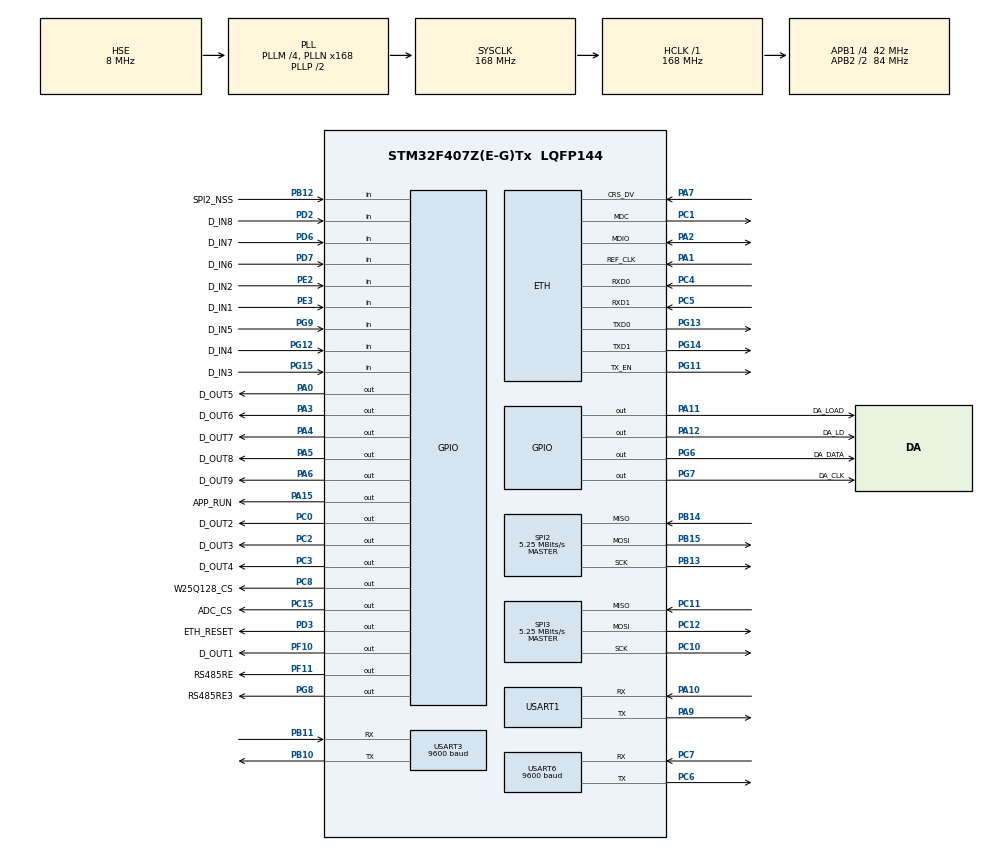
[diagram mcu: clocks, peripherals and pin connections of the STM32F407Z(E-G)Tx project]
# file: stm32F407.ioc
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ETH.AutoNegotiation=ETH_AUTONEGOTIATION_ENABLE
ETH.MACAddr=00\:80\:E1\:00\:00\:11
ETH.MediaInterface=ETH_MEDIA_INTERFACE_RMII
ETH.PHY_DUPLEX_STATUS=0x0010
ETH.PHY_Name_RMII=userPHY
ETH.PHY_SPEED_STATUS=0x0004
ETH.PHY_SR=0x1F
ETH.PHY_User_Name=LAN8720A
ETH.PhyAddress=0
LWIP.LWIP_DHCP=0
LWIP.LWIP_TFTP=1
LWIP.MEMP_NUM_NETCONN=12
LWIP.MEM_SIZE=16000
LWIP.Version=v2.0.3_Cube
Mcu.Family=STM32F4
Mcu.Name=STM32F407Z(E-G)Tx
Mcu.Package=LQFP144
NVIC.ETH_IRQn=true\:0\:0\:true\:false\:true\:true
NVIC.PriorityGroup=NVIC_PRIORITYGROUP_4
NVIC.USART3_IRQn=true\:0\:0\:false\:false\:true\:true
NVIC.USART6_IRQn=true\:0\:0\:false\:false\:true\:true
NVIC.WWDG_IRQn=true\:0\:0\:true\:false\:true\:true
PA0-WKUP.GPIO_Label=D_OUT5
PA0-WKUP.GPIO_Speed=GPIO_SPEED_FREQ_HIGH
PA0-WKUP.Signal=GPIO_Output
PA1.Mode=RMII
PA1.Signal=ETH_REF_CLK
PA10.Mode=Asynchronous
PA10.Signal=USART1_RX
PA11.GPIO_Label=DA_LOAD
PA11.GPIO_Speed=GPIO_SPEED_FREQ_HIGH
PA11.Signal=GPIO_Output
PA12.GPIO_Label=DA_LD
PA12.GPIO_Speed=GPIO_SPEED_FREQ_HIGH
PA12.Signal=GPIO_Output
PA15.GPIO_Label=APP_RUN
PA15.GPIO_Speed=GPIO_SPEED_FREQ_HIGH
PA15.Signal=GPIO_Output
PA2.Mode=RMII
PA2.Signal=ETH_MDIO
PA3.GPIO_Label=D_OUT6
PA3.GPIO_Speed=GPIO_SPEED_FREQ_HIGH
PA3.Signal=GPIO_Output
PA4.GPIO_Label=D_OUT7
PA4.GPIO_Speed=GPIO_SPEED_FREQ_HIGH
PA4.Signal=GPIO_Output
PA5.GPIO_Label=D_OUT8
PA5.GPIO_Speed=GPIO_SPEED_FREQ_HIGH
PA5.Signal=GPIO_Output
PA6.GPIO_Label=D_OUT9
PA6.GPIO_Speed=GPIO_SPEED_FREQ_HIGH
PA6.Signal=GPIO_Output
PA7.Mode=RMII
PA7.Signal=ETH_CRS_DV
PA9.Mode=Asynchronous
PA9.Signal=USART1_TX
PB10.Mode=Asynchronous
PB10.Signal=USART3_TX
PB11.Mode=Asynchronous
PB11.Signal=USART3_RX
PB12.GPIO_Label=SPI2_NSS
PB12.Signal=GPIO_Input
PB13.Mode=Full_Duplex_Master
PB13.Signal=SPI2_SCK
PB14.Mode=Full_Duplex_Master
PB14.Signal=SPI2_MISO
PB15.Mode=Full_Duplex_Master
PB15.Signal=SPI2_MOSI
PC0.GPIO_Label=D_OUT2
PC0.GPIO_Speed=GPIO_SPEED_FREQ_HIGH
PC0.Signal=GPIO_Output
PC1.Mode=RMII
PC1.Signal=ETH_MDC
PC10.Mode=Full_Duplex_Master
PC10.Signal=SPI3_SCK
PC11.Mode=Full_Duplex_Master
PC11.Signal=SPI3_MISO
PC12.Mode=Full_Duplex_Master
PC12.Signal=SPI3_MOSI
PC15-OSC32_OUT.GPIO_Label=ADC_CS
PC15-OSC32_OUT.Signal=GPIO_Output
PC2.GPIO_Label=D_OUT3
PC2.GPIO_Speed=GPIO_SPEED_FREQ_HIGH
PC2.Signal=GPIO_Output
PC3.GPIO_Label=D_OUT4
PC3.GPIO_Speed=GPIO_SPEED_FREQ_HIGH
PC3.Signal=GPIO_Output
PC4.Mode=RMII
PC4.Signal=ETH_RXD0
PC5.Mode=RMII
PC5.Signal=ETH_RXD1
PC6.Mode=Asynchronous
PC6.Signal=USART6_TX
PC7.Mode=Asynchronous
PC7.Signal=USART6_RX
PC8.GPIO_Label=W25Q128_CS
PC8.GPIO_Speed=GPIO_SPEED_FREQ_HIGH
PC8.PinState=GPIO_PIN_SET
PC8.Signal=GPIO_Output
PD2.GPIO_Label=D_IN8
PD2.Signal=GPIO_Input
PD3.GPIO_Label=ETH_RESET
PD3.GPIO_ModeDefaultOutputPP=GPIO_MODE_OUTPUT_PP
PD3.GPIO_PuPd=GPIO_NOPULL
PD3.GPIO_Speed=GPIO_SPEED_FREQ_VERY_HIGH
PD3.PinState=GPIO_PIN_RESET
PD3.Signal=GPIO_Output
PD6.GPIO_Label=D_IN7
PD6.Signal=GPIO_Input
PD7.GPIO_Label=D_IN6
PD7.Signal=GPIO_Input
PE2.GPIO_Label=D_IN2
PE2.Signal=GPIO_Input
PE3.GPIO_Label=D_IN1
PE3.Signal=GPIO_Input
PF10.GPIO_Label=D_OUT1
PF10.GPIO_Speed=GPIO_SPEED_FREQ_HIGH
PF10.Signal=GPIO_Output
PF11.GPIO_Label=RS485RE
PF11.GPIO_Speed=GPIO_SPEED_FREQ_HIGH
PF11.PinState=GPIO_PIN_RESET
PF11.Signal=GPIO_Output
PG11.Mode=RMII
PG11.Signal=ETH_TX_EN
PG12.GPIO_Label=D_IN4
PG12.Signal=GPIO_Input
PG13.Mode=RMII
PG13.Signal=ETH_TXD0
PG14.Mode=RMII
PG14.Signal=ETH_TXD1
PG15.GPIO_Label=D_IN3
PG15.Signal=GPIO_Input
PG6.GPIO_Label=DA_DATA
PG6.GPIO_Speed=GPIO_SPEED_FREQ_HIGH
PG6.Signal=GPIO_Output
PG7.GPIO_Label=DA_CLK
PG7.GPIO_Speed=GPIO_SPEED_FREQ_HIGH
PG7.Signal=GPIO_Output
PG8.GPIO_Label=RS485RE3
PG8.GPIO_Speed=GPIO_SPEED_FREQ_HIGH
PG8.Signal=GPIO_Output
PG9.GPIO_Label=D_IN5
PG9.Signal=GPIO_Input
PH0-OSC_IN.Mode=HSE-External-Oscillator
PH0-OSC_IN.Signal=RCC_OSC_IN
PH1-OSC_OUT.Mode=HSE-External-Oscillator
PH1-OSC_OUT.Signal=RCC_OSC_OUT
ProjectManager.HeapSize=0x200
ProjectManager.StackSize=0x400
ProjectManager.TargetToolchain=MDK-ARM V5
RCC.48MHZClocksFreq_Value=48000000
RCC.AHBFreq_Value=168000000
RCC.APB1CLKDivider=RCC_HCLK_DIV4
RCC.APB1Freq_Value=42000000
RCC.APB1TimFreq_Value=84000000
RCC.APB2CLKDivider=RCC_HCLK_DIV2
RCC.APB2Freq_Value=84000000
RCC.APB2TimFreq_Value=168000000
RCC.CortexFreq_Value=168000000
RCC.HCLKFreq_Value=168000000
RCC.HSE_VALUE=8000000
RCC.HSI_VALUE=16000000
RCC.LSE_VALUE=32768
RCC.PLLM=4
RCC.PLLN=168
RCC.PLLQ=7
RCC.PLLSourceVirtual=RCC_PLLSOURCE_HSE
RCC.RCC_MCO1Source=RCC_MCO1SOURCE_PLLCLK
RCC.RCC_MCODiv1=RCC_MCODIV_3
RCC.RCC_RTC_Clock_SourceVirtual=RCC_RTCCLKSOURCE_HSE_DIV8
RCC.RCC_RTC_Clock_Source_FROM_HSE=RCC_RTCCLKSOURCE_HSE_DIV8
RCC.SYSCLKFreq_VALUE=168000000
RCC.SYSCLKSource=RCC_SYSCLKSOURCE_PLLCLK
RCC.VCOOutputFreq_Value=336000000
RTC.AsynchPrediv=127
RTC.Date=15
RTC.Format=RTC_FORMAT_BIN
RTC.Month=RTC_MONTH_APRIL
RTC.SynchPrediv=7811
RTC.Year=18
SPI2.BaudRatePrescaler=SPI_BAUDRATEPRESCALER_8
SPI2.CLKPhase=SPI_PHASE_1EDGE
SPI2.CLKPolarity=SPI_POLARITY_LOW
SPI2.CalculateBaudRate=5.25 MBits/s
SPI2.Direction=SPI_DIRECTION_2LINES
SPI2.Mode=SPI_MODE_MASTER
SPI2.VirtualType=VM_MASTER
SPI3.BaudRatePrescaler=SPI_BAUDRATEPRESCALER_8
SPI3.CLKPhase=SPI_PHASE_2EDGE
SPI3.CLKPolarity=SPI_POLARITY_HIGH
SPI3.CalculateBaudRate=5.25 MBits/s
SPI3.Direction=SPI_DIRECTION_2LINES
SPI3.Mode=SPI_MODE_MASTER
SPI3.VirtualType=VM_MASTER
USART1.VirtualMode=VM_ASYNC
USART3.BaudRate=9600
USART3.VirtualMode=VM_ASYNC
USART6.BaudRate=9600
USART6.VirtualMode=VM_ASYNC
VP_LWIP_VS_Enabled.Mode=Enabled
VP_RTC_VS_RTC_Activate.Mode=RTC_Enabled
VP_RTC_VS_RTC_Calendar.Mode=RTC_Calendar
VP_WWDG_VS_WWDG.Mode=WWDG_Activate
WWDG.Counter=0x7F
WWDG.EWIMode=WWDG_EWI_ENABLE
WWDG.Prescaler=WWDG_PRESCALER_8
WWDG.Window=0x5A
board=stm32F407

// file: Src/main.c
/**
  ******************************************************************************
  * @file           : main.c
  * @brief          : Main program body
  ******************************************************************************
  * This notice applies to any and all portions of this file
  * that are not between comment pairs USER CODE BEGIN and
  * USER CODE END. Other portions of this file, whether
  * inserted by the user or by software development tools
  * are owned by their respective copyright owners.
  *
  * Copyright (c) 2018 STMicroelectronics International N.V.
  * All rights reserved.
  *
  * Redistribution and use in source and binary forms, with or without
  * modification, are permitted, provided that the following conditions are met:
  *
  * 1. Redistribution of source code must retain the above copyright notice,
  *    this list of conditions and the following disclaimer.
  * 2. Redistributions in binary form must reproduce the above copyright notice,
  *    this list of conditions and the following disclaimer in the documentation
  *    and/or other materials provided with the distribution.
  * 3. Neither the name of STMicroelectronics nor the names of other
  *    contributors to this software may be used to endorse or promote products
  *    derived from this software without specific written permission.
  * 4. This software, including modifications and/or derivative works of this
  *    software, must execute solely and exclusively on microcontroller or
  *    microprocessor devices manufactured by or for STMicroelectronics.
  * 5. Redistribution and use of this software other than as permitted under
  *    this license is void and will automatically terminate your rights under
  *    this license.
  *
  * THIS SOFTWARE IS PROVIDED BY STMICROELECTRONICS AND CONTRIBUTORS "AS IS"
  * AND ANY EXPRESS, IMPLIED OR STATUTORY WARRANTIES, INCLUDING, BUT NOT
  * LIMITED TO, THE IMPLIED WARRANTIES OF MERCHANTABILITY, FITNESS FOR A
  * PARTICULAR PURPOSE AND NON-INFRINGEMENT OF THIRD PARTY INTELLECTUAL PROPERTY
  * RIGHTS ARE DISCLAIMED TO THE FULLEST EXTENT PERMITTED BY LAW. IN NO EVENT
  * SHALL STMICROELECTRONICS OR CONTRIBUTORS BE LIABLE FOR ANY DIRECT, INDIRECT,
  * INCIDENTAL, SPECIAL, EXEMPLARY, OR CONSEQUENTIAL DAMAGES (INCLUDING, BUT NOT
  * LIMITED TO, PROCUREMENT OF SUBSTITUTE GOODS OR SERVICES; LOSS OF USE, DATA,
  * OR PROFITS; OR BUSINESS INTERRUPTION) HOWEVER CAUSED AND ON ANY THEORY OF
  * LIABILITY, WHETHER IN CONTRACT, STRICT LIABILITY, OR TORT (INCLUDING
  * NEGLIGENCE OR OTHERWISE) ARISING IN ANY WAY OUT OF THE USE OF THIS SOFTWARE,
  * EVEN IF ADVISED OF THE POSSIBILITY OF SUCH DAMAGE.
  *
  ******************************************************************************
  */
#include "main.h"
#include "stm32f4xx_hal.h"
#include "lwip.h"

/* USER CODE BEGIN Includes */
#include <platform.h>
extern struct netif gnetif;
/* USER CODE END Includes */

RTC_HandleTypeDef hrtc;

SPI_HandleTypeDef hspi2;
SPI_HandleTypeDef hspi3;

UART_HandleTypeDef huart1;
UART_HandleTypeDef huart3;
UART_HandleTypeDef huart6;

WWDG_HandleTypeDef hwwdg;

/* USER CODE BEGIN PV */
/* Private variables ---------------------------------------------------------*/

/* USER CODE END PV */

void SystemClock_Config(void);
static void MX_GPIO_Init(void);
static void MX_USART1_UART_Init(void);
static void MX_USART6_UART_Init(void);
static void MX_SPI3_Init(void);
static void MX_SPI2_Init(void);
static void MX_USART3_UART_Init(void);
static void MX_WWDG_Init(void);
static void MX_RTC_Init(void);

/* USER CODE BEGIN PFP */
/* Private function prototypes -----------------------------------------------*/

/* USER CODE END PFP */

int main(void)
{
  /* USER CODE BEGIN 1 */
	SCB->VTOR = FLASH_BASE | 0x10000;
	__set_FAULTMASK(0);

  /* USER CODE END 1 */

  /* MCU Configuration----------------------------------------------------------*/

  /* Reset of all peripherals, Initializes the Flash interface and the Systick. */
  HAL_Init();

  /* Configure the system clock */
  SystemClock_Config();

  /* Initialize all configured peripherals */
  MX_GPIO_Init();
 // MX_LWIP_Init();
  MX_USART1_UART_Init();
  MX_USART6_UART_Init();
  MX_SPI3_Init();
  MX_SPI2_Init();
  MX_USART3_UART_Init();
 // MX_WWDG_Init();
  MX_RTC_Init();
  /* USER CODE BEGIN 2 */
	PLATFORM_Init();
	MX_LWIP_Init();

	static struct tftp_context tftp = {tftp_open, tftp_close, tftp_read, tftp_write};
	tftp_init(&tftp);
	//static RTC_TimeTypeDef stimestructureget;
	//static RTC_DateTypeDef sdatestructureget;
	static uint32_t Tick = 0;
	Tick = HAL_GetTick();

	if(eMBTCPInit(502) != MB_ENOERR)
		Soft_Reset();
	eMBEnable();
	MX_WWDG_Init();
  /* Infinite loop */
  /* USER CODE END 2 */

  /* Infinite loop */
  while (1)
  {

  /* USER CODE BEGIN 3 */
		//tftp 增加closehandle();
		WWDG_Refresh();
		eMBPoll();
		if(HAL_GetTick() - Tick >= 1000) {
			HAL_GPIO_TogglePin(APP_RUN_GPIO_Port, APP_RUN_Pin);
			Tick = HAL_GetTick();

			//检测内存
			struct tcp_pcb *pcb = (struct tcp_pcb *)memp_malloc(MEMP_TCP_PCB);
			if(pcb == NULL)
				Soft_Reset();
			memp_free(MEMP_TCP_PCB, pcb);

			struct tcp_seg *seg = (struct tcp_seg *)memp_malloc(MEMP_TCP_SEG);
			if(seg == NULL)
				Soft_Reset();
			memp_free(MEMP_TCP_SEG, seg);

			struct pbuf *buf = pbuf_alloc(PBUF_TRANSPORT, 1600, PBUF_RAM);
		  if(buf == NULL)
				Soft_Reset();
			pbuf_free(buf);
		}
		MX_LWIP_Process();
  }
  /* USER CODE END 3 */

}

void SystemClock_Config(void)
{

  RCC_OscInitTypeDef RCC_OscInitStruct;
  RCC_ClkInitTypeDef RCC_ClkInitStruct;
  RCC_PeriphCLKInitTypeDef PeriphClkInitStruct;

    /**Configure the main internal regulator output voltage
    */
  __HAL_RCC_PWR_CLK_ENABLE();

  __HAL_PWR_VOLTAGESCALING_CONFIG(PWR_REGULATOR_VOLTAGE_SCALE1);

    /**Initializes the CPU, AHB and APB busses clocks
    */
  RCC_OscInitStruct.OscillatorType = RCC_OSCILLATORTYPE_HSE;
  RCC_OscInitStruct.HSEState = RCC_HSE_ON;
  RCC_OscInitStruct.PLL.PLLState = RCC_PLL_ON;
  RCC_OscInitStruct.PLL.PLLSource = RCC_PLLSOURCE_HSE;
  RCC_OscInitStruct.PLL.PLLM = 4;
  RCC_OscInitStruct.PLL.PLLN = 168;
  RCC_OscInitStruct.PLL.PLLP = RCC_PLLP_DIV2;
  RCC_OscInitStruct.PLL.PLLQ = 7;
  if (HAL_RCC_OscConfig(&RCC_OscInitStruct) != HAL_OK)
  {
    _Error_Handler(__FILE__, __LINE__);
  }

    /**Initializes the CPU, AHB and APB busses clocks
    */
  RCC_ClkInitStruct.ClockType = RCC_CLOCKTYPE_HCLK|RCC_CLOCKTYPE_SYSCLK
                              |RCC_CLOCKTYPE_PCLK1|RCC_CLOCKTYPE_PCLK2;
  RCC_ClkInitStruct.SYSCLKSource = RCC_SYSCLKSOURCE_PLLCLK;
  RCC_ClkInitStruct.AHBCLKDivider = RCC_SYSCLK_DIV1;
  RCC_ClkInitStruct.APB1CLKDivider = RCC_HCLK_DIV4;
  RCC_ClkInitStruct.APB2CLKDivider = RCC_HCLK_DIV2;

  if (HAL_RCC_ClockConfig(&RCC_ClkInitStruct, FLASH_LATENCY_5) != HAL_OK)
  {
    _Error_Handler(__FILE__, __LINE__);
  }

  PeriphClkInitStruct.PeriphClockSelection = RCC_PERIPHCLK_RTC;
  PeriphClkInitStruct.RTCClockSelection = RCC_RTCCLKSOURCE_HSE_DIV8;
  if (HAL_RCCEx_PeriphCLKConfig(&PeriphClkInitStruct) != HAL_OK)
  {
    _Error_Handler(__FILE__, __LINE__);
  }

    /**Configure the Systick interrupt time
    */
  HAL_SYSTICK_Config(HAL_RCC_GetHCLKFreq()/1000);

    /**Configure the Systick
    */
  HAL_SYSTICK_CLKSourceConfig(SYSTICK_CLKSOURCE_HCLK);

  /* SysTick_IRQn interrupt configuration */
  HAL_NVIC_SetPriority(SysTick_IRQn, 0, 0);
}

/* RTC init function */
static void MX_RTC_Init(void)
{

  RTC_TimeTypeDef sTime;
  RTC_DateTypeDef sDate;

    /**Initialize RTC Only
    */
  hrtc.Instance = RTC;
if(HAL_RTCEx_BKUPRead(&hrtc, RTC_BKP_DR0) != 0x32F2){
  hrtc.Init.HourFormat = RTC_HOURFORMAT_24;
  hrtc.Init.AsynchPrediv = 127;
  hrtc.Init.SynchPrediv = 7811;
  hrtc.Init.OutPut = RTC_OUTPUT_DISABLE;
  hrtc.Init.OutPutPolarity = RTC_OUTPUT_POLARITY_HIGH;
  hrtc.Init.OutPutType = RTC_OUTPUT_TYPE_OPENDRAIN;
  if (HAL_RTC_Init(&hrtc) != HAL_OK)
  {
    _Error_Handler(__FILE__, __LINE__);
  }

    /**Initialize RTC and set the Time and Date
    */
  sTime.Hours = 0;
  sTime.Minutes = 0;
  sTime.Seconds = 0;
  sTime.DayLightSaving = RTC_DAYLIGHTSAVING_NONE;
  sTime.StoreOperation = RTC_STOREOPERATION_RESET;
  if (HAL_RTC_SetTime(&hrtc, &sTime, RTC_FORMAT_BIN) != HAL_OK)
  {
    _Error_Handler(__FILE__, __LINE__);
  }

  sDate.WeekDay = RTC_WEEKDAY_MONDAY;
  sDate.Month = RTC_MONTH_APRIL;
  sDate.Date = 15;
  sDate.Year = 18;

  if (HAL_RTC_SetDate(&hrtc, &sDate, RTC_FORMAT_BIN) != HAL_OK)
  {
    _Error_Handler(__FILE__, __LINE__);
  }

    HAL_RTCEx_BKUPWrite(&hrtc,RTC_BKP_DR0,0x32F2);
  }

}

/* SPI2 init function */
static void MX_SPI2_Init(void)
{

  /* SPI2 parameter configuration*/
  hspi2.Instance = SPI2;
  hspi2.Init.Mode = SPI_MODE_MASTER;
  hspi2.Init.Direction = SPI_DIRECTION_2LINES;
  hspi2.Init.DataSize = SPI_DATASIZE_8BIT;
  hspi2.Init.CLKPolarity = SPI_POLARITY_LOW;
  hspi2.Init.CLKPhase = SPI_PHASE_1EDGE;
  hspi2.Init.NSS = SPI_NSS_SOFT;
  hspi2.Init.BaudRatePrescaler = SPI_BAUDRATEPRESCALER_8;
  hspi2.Init.FirstBit = SPI_FIRSTBIT_MSB;
  hspi2.Init.TIMode = SPI_TIMODE_DISABLE;
  hspi2.Init.CRCCalculation = SPI_CRCCALCULATION_DISABLE;
  hspi2.Init.CRCPolynomial = 10;
  if (HAL_SPI_Init(&hspi2) != HAL_OK)
  {
    _Error_Handler(__FILE__, __LINE__);
  }

}

/* SPI3 init function */
static void MX_SPI3_Init(void)
{

  /* SPI3 parameter configuration*/
  hspi3.Instance = SPI3;
  hspi3.Init.Mode = SPI_MODE_MASTER;
  hspi3.Init.Direction = SPI_DIRECTION_2LINES;
  hspi3.Init.DataSize = SPI_DATASIZE_8BIT;
  hspi3.Init.CLKPolarity = SPI_POLARITY_HIGH;
  hspi3.Init.CLKPhase = SPI_PHASE_2EDGE;
  hspi3.Init.NSS = SPI_NSS_SOFT;
  hspi3.Init.BaudRatePrescaler = SPI_BAUDRATEPRESCALER_8;
  hspi3.Init.FirstBit = SPI_FIRSTBIT_MSB;
  hspi3.Init.TIMode = SPI_TIMODE_DISABLE;
  hspi3.Init.CRCCalculation = SPI_CRCCALCULATION_DISABLE;
  hspi3.Init.CRCPolynomial = 10;
  if (HAL_SPI_Init(&hspi3) != HAL_OK)
  {
    _Error_Handler(__FILE__, __LINE__);
  }

}

/* USART1 init function */
static void MX_USART1_UART_Init(void)
{

  huart1.Instance = USART1;
  huart1.Init.BaudRate = 115200;
  huart1.Init.WordLength = UART_WORDLENGTH_8B;
  huart1.Init.StopBits = UART_STOPBITS_1;
  huart1.Init.Parity = UART_PARITY_NONE;
  huart1.Init.Mode = UART_MODE_TX_RX;
  huart1.Init.HwFlowCtl = UART_HWCONTROL_NONE;
  huart1.Init.OverSampling = UART_OVERSAMPLING_16;
  if (HAL_UART_Init(&huart1) != HAL_OK)
  {
    _Error_Handler(__FILE__, __LINE__);
  }

}

/* USART3 init function */
static void MX_USART3_UART_Init(void)
{

  huart3.Instance = USART3;
  huart3.Init.BaudRate = 9600;
  huart3.Init.WordLength = UART_WORDLENGTH_8B;
  huart3.Init.StopBits = UART_STOPBITS_1;
  huart3.Init.Parity = UART_PARITY_NONE;
  huart3.Init.Mode = UART_MODE_TX_RX;
  huart3.Init.HwFlowCtl = UART_HWCONTROL_NONE;
  huart3.Init.OverSampling = UART_OVERSAMPLING_16;
  if (HAL_UART_Init(&huart3) != HAL_OK)
  {
    _Error_Handler(__FILE__, __LINE__);
  }

}

/* USART6 init function */
static void MX_USART6_UART_Init(void)
{

  huart6.Instance = USART6;
  huart6.Init.BaudRate = 9600;
  huart6.Init.WordLength = UART_WORDLENGTH_8B;
  huart6.Init.StopBits = UART_STOPBITS_1;
  huart6.Init.Parity = UART_PARITY_NONE;
  huart6.Init.Mode = UART_MODE_TX_RX;
  huart6.Init.HwFlowCtl = UART_HWCONTROL_NONE;
  huart6.Init.OverSampling = UART_OVERSAMPLING_16;
  if (HAL_UART_Init(&huart6) != HAL_OK)
  {
    _Error_Handler(__FILE__, __LINE__);
  }

}

/* WWDG init function */
static void MX_WWDG_Init(void)
{

  hwwdg.Instance = WWDG;
  hwwdg.Init.Prescaler = WWDG_PRESCALER_8;
  hwwdg.Init.Window = 0x5A;
  hwwdg.Init.Counter = 0x7F;
  hwwdg.Init.EWIMode = WWDG_EWI_ENABLE;
  if (HAL_WWDG_Init(&hwwdg) != HAL_OK)
  {
    _Error_Handler(__FILE__, __LINE__);
  }

}

/** Configure pins as
        * Analog
        * Input
        * Output
        * EVENT_OUT
        * EXTI
*/
static void MX_GPIO_Init(void)
{

  GPIO_InitTypeDef GPIO_InitStruct;

  /* GPIO Ports Clock Enable */
  __HAL_RCC_GPIOE_CLK_ENABLE();
  __HAL_RCC_GPIOC_CLK_ENABLE();
  __HAL_RCC_GPIOF_CLK_ENABLE();
  __HAL_RCC_GPIOH_CLK_ENABLE();
  __HAL_RCC_GPIOA_CLK_ENABLE();
  __HAL_RCC_GPIOB_CLK_ENABLE();
  __HAL_RCC_GPIOG_CLK_ENABLE();
  __HAL_RCC_GPIOD_CLK_ENABLE();

  /*Configure GPIO pin Output Level */
  HAL_GPIO_WritePin(GPIOC, ADC_CS_Pin|D_OUT2_Pin|D_OUT3_Pin|D_OUT4_Pin, GPIO_PIN_RESET);

  /*Configure GPIO pin Output Level */
  HAL_GPIO_WritePin(GPIOF, D_OUT1_Pin|RS485RE_Pin, GPIO_PIN_RESET);

  /*Configure GPIO pin Output Level */
  HAL_GPIO_WritePin(GPIOA, D_OUT5_Pin|D_OUT6_Pin|D_OUT7_Pin|D_OUT8_Pin
                          |D_OUT9_Pin|DA_LOAD_Pin|DA_LD_Pin|APP_RUN_Pin, GPIO_PIN_RESET);

  /*Configure GPIO pin Output Level */
  HAL_GPIO_WritePin(GPIOG, DA_DATA_Pin|DA_CLK_Pin|RS485RE3_Pin, GPIO_PIN_RESET);

  /*Configure GPIO pin Output Level */
  HAL_GPIO_WritePin(W25Q128_CS_GPIO_Port, W25Q128_CS_Pin, GPIO_PIN_SET);

  /*Configure GPIO pin Output Level */
  HAL_GPIO_WritePin(ETH_RESET_GPIO_Port, ETH_RESET_Pin, GPIO_PIN_RESET);

  /*Configure GPIO pins : D_IN2_Pin D_IN1_Pin */
  GPIO_InitStruct.Pin = D_IN2_Pin|D_IN1_Pin;
  GPIO_InitStruct.Mode = GPIO_MODE_INPUT;
  GPIO_InitStruct.Pull = GPIO_NOPULL;
  HAL_GPIO_Init(GPIOE, &GPIO_InitStruct);

  /*Configure GPIO pin : ADC_CS_Pin */
  GPIO_InitStruct.Pin = ADC_CS_Pin;
  GPIO_InitStruct.Mode = GPIO_MODE_OUTPUT_PP;
  GPIO_InitStruct.Pull = GPIO_NOPULL;
  GPIO_InitStruct.Speed = GPIO_SPEED_FREQ_LOW;
  HAL_GPIO_Init(ADC_CS_GPIO_Port, &GPIO_InitStruct);

  /*Configure GPIO pins : D_OUT1_Pin RS485RE_Pin */
  GPIO_InitStruct.Pin = D_OUT1_Pin|RS485RE_Pin;
  GPIO_InitStruct.Mode = GPIO_MODE_OUTPUT_PP;
  GPIO_InitStruct.Pull = GPIO_NOPULL;
  GPIO_InitStruct.Speed = GPIO_SPEED_FREQ_HIGH;
  HAL_GPIO_Init(GPIOF, &GPIO_InitStruct);

  /*Configure GPIO pins : D_OUT2_Pin D_OUT3_Pin D_OUT4_Pin W25Q128_CS_Pin */
  GPIO_InitStruct.Pin = D_OUT2_Pin|D_OUT3_Pin|D_OUT4_Pin|W25Q128_CS_Pin;
  GPIO_InitStruct.Mode = GPIO_MODE_OUTPUT_PP;
  GPIO_InitStruct.Pull = GPIO_NOPULL;
  GPIO_InitStruct.Speed = GPIO_SPEED_FREQ_HIGH;
  HAL_GPIO_Init(GPIOC, &GPIO_InitStruct);

  /*Configure GPIO pins : D_OUT5_Pin D_OUT6_Pin D_OUT7_Pin D_OUT8_Pin
                           D_OUT9_Pin DA_LOAD_Pin DA_LD_Pin APP_RUN_Pin */
  GPIO_InitStruct.Pin = D_OUT5_Pin|D_OUT6_Pin|D_OUT7_Pin|D_OUT8_Pin
                          |D_OUT9_Pin|DA_LOAD_Pin|DA_LD_Pin|APP_RUN_Pin;
  GPIO_InitStruct.Mode = GPIO_MODE_OUTPUT_PP;
  GPIO_InitStruct.Pull = GPIO_NOPULL;
  GPIO_InitStruct.Speed = GPIO_SPEED_FREQ_HIGH;
  HAL_GPIO_Init(GPIOA, &GPIO_InitStruct);

  /*Configure GPIO pin : SPI2_NSS_Pin */
  GPIO_InitStruct.Pin = SPI2_NSS_Pin;
  GPIO_InitStruct.Mode = GPIO_MODE_INPUT;
  GPIO_InitStruct.Pull = GPIO_NOPULL;
  HAL_GPIO_Init(SPI2_NSS_GPIO_Port, &GPIO_InitStruct);

  /*Configure GPIO pins : DA_DATA_Pin DA_CLK_Pin RS485RE3_Pin */
  GPIO_InitStruct.Pin = DA_DATA_Pin|DA_CLK_Pin|RS485RE3_Pin;
  GPIO_InitStruct.Mode = GPIO_MODE_OUTPUT_PP;
  GPIO_InitStruct.Pull = GPIO_NOPULL;
  GPIO_InitStruct.Speed = GPIO_SPEED_FREQ_HIGH;
  HAL_GPIO_Init(GPIOG, &GPIO_InitStruct);

  /*Configure GPIO pins : D_IN8_Pin D_IN7_Pin D_IN6_Pin */
  GPIO_InitStruct.Pin = D_IN8_Pin|D_IN7_Pin|D_IN6_Pin;
  GPIO_InitStruct.Mode = GPIO_MODE_INPUT;
  GPIO_InitStruct.Pull = GPIO_NOPULL;
  HAL_GPIO_Init(GPIOD, &GPIO_InitStruct);

  /*Configure GPIO pin : ETH_RESET_Pin */
  GPIO_InitStruct.Pin = ETH_RESET_Pin;
  GPIO_InitStruct.Mode = GPIO_MODE_OUTPUT_PP;
  GPIO_InitStruct.Pull = GPIO_NOPULL;
  GPIO_InitStruct.Speed = GPIO_SPEED_FREQ_VERY_HIGH;
  HAL_GPIO_Init(ETH_RESET_GPIO_Port, &GPIO_InitStruct);

  /*Configure GPIO pins : D_IN5_Pin D_IN4_Pin D_IN3_Pin */
  GPIO_InitStruct.Pin = D_IN5_Pin|D_IN4_Pin|D_IN3_Pin;
  GPIO_InitStruct.Mode = GPIO_MODE_INPUT;
  GPIO_InitStruct.Pull = GPIO_NOPULL;
  HAL_GPIO_Init(GPIOG, &GPIO_InitStruct);

}

void _Error_Handler(char *file, int line)
{
  while(1)
  {
  }
}

/************************ (C) COPYRIGHT STMicroelectronics *****END OF FILE****/
